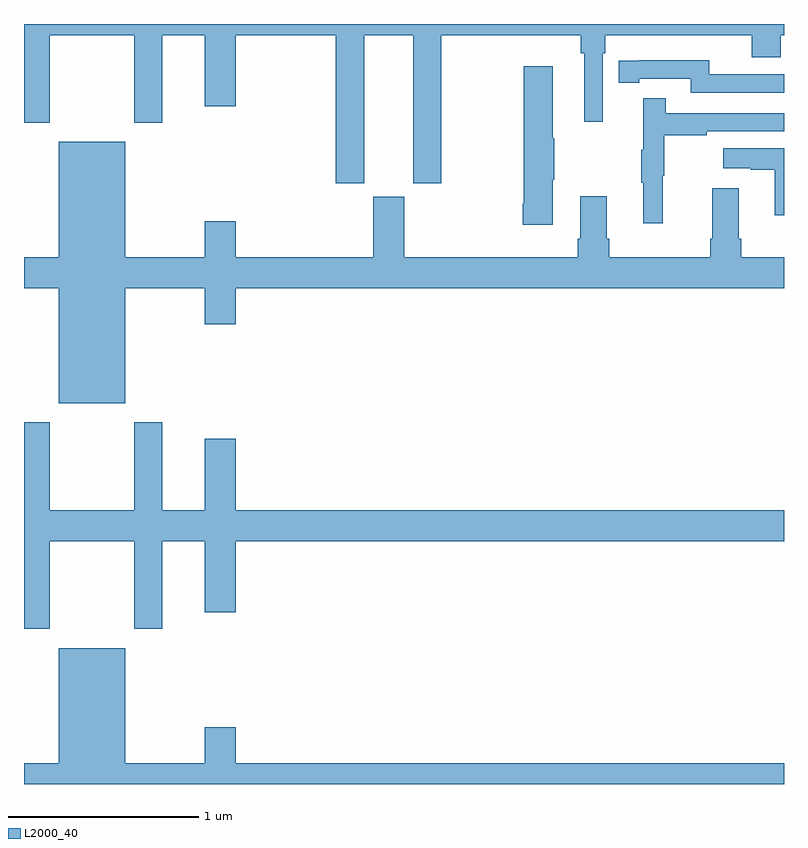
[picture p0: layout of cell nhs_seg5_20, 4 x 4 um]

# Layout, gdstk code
import gdstk
lib = gdstk.Library(unit=1e-6, precision=1e-09)
def P(c, l, *ps):  # polygons
    for p in ps: c.add(gdstk.Polygon(p, *l))
L2000_40 = (2000, 40)

nhs_seg5_20 = lib.new_cell('nhs_seg5_20')
P(nhs_seg5_20, L2000_40, [(112.792,876.74),(113.048,876.74),(113.048,875.961),(113.196,875.961),(113.196,876.74),(113.929,876.74),(113.929,876.644),(113.948,876.644),(113.948,876.285),(114.045,876.285),(114.045,876.644),(114.059,876.644),(114.059,876.74),(114.83,876.74),(114.83,876.623),(114.983,876.623),(114.983,876.74),(115,876.74),(115,876.799),(111,876.799),(111,876.279),(111.135,876.279),(111.135,876.74),(111.58,876.74),(111.58,876.279),(111.727,876.279),(111.727,876.74),(111.95,876.74),(111.95,876.366),(112.114,876.366),(112.114,876.74),(112.64,876.74),(112.64,875.961),(112.792,875.961)],
  [(115,876.534),(114.606,876.534),(114.606,876.607),(114.238,876.607),(114.238,876.606),(114.13,876.606),(114.13,876.49),(114.238,876.49),(114.238,876.51),(114.51,876.51),(114.51,876.438),(115,876.438)],
  [(113.782,875.98),(113.79,875.98),(113.79,876.197),(113.782,876.197),(113.782,876.577),(113.629,876.577),(113.629,875.854),(113.624,875.854),(113.624,875.742),(113.782,875.742)],
  [(114.362,876),(114.37,876),(114.37,876.214),(114.593,876.214),(114.593,876.234),(115,876.234),(115,876.33),(114.377,876.33),(114.377,876.409),(114.26,876.409),(114.26,876.137),(114.249,876.137),(114.249,875.963),(114.26,875.963),(114.26,875.751),(114.362,875.751)],
  [(111.532,875.408),(111.95,875.408),(111.95,875.22),(112.114,875.22),(112.114,875.408),(115,875.408),(115,875.572),(114.776,875.572),(114.776,875.668),(114.763,875.668),(114.763,875.935),(114.623,875.935),(114.623,875.668),(114.611,875.668),(114.611,875.572),(114.08,875.572),(114.08,875.668),(114.067,875.668),(114.067,875.893),(113.927,875.893),(113.927,875.668),(113.915,875.668),(113.915,875.572),(113.002,875.572),(113.002,875.889),(112.838,875.889),(112.838,875.572),(112.114,875.572),(112.114,875.761),(111.95,875.761),(111.95,875.572),(111.532,875.572),(111.532,876.178),(111.182,876.178),(111.182,875.572),(111,875.572),(111,875.408),(111.182,875.408),(111.182,874.802),(111.532,874.802)],
  [(115,876.145),(114.681,876.145),(114.681,876.041),(114.824,876.041),(114.824,876.031),(114.95,876.031),(114.95,875.793),(115,875.793)],
  [(111.135,874.076),(111.58,874.076),(111.58,873.615),(111.727,873.615),(111.727,874.076),(111.95,874.076),(111.95,873.702),(112.114,873.702),(112.114,874.076),(115,874.076),(115,874.24),(112.114,874.24),(112.114,874.615),(111.95,874.615),(111.95,874.24),(111.727,874.24),(111.727,874.702),(111.58,874.702),(111.58,874.24),(111.135,874.24),(111.135,874.702),(111,874.702),(111,873.615),(111.135,873.615)],
  [(115,872.908),(112.114,872.908),(112.114,873.097),(111.95,873.097),(111.95,872.908),(111.532,872.908),(111.532,873.514),(111.182,873.514),(111.182,872.908),(111,872.908),(111,872.799),(115,872.799)])

lib.write_gds('nhs_seg5_20.gds')
